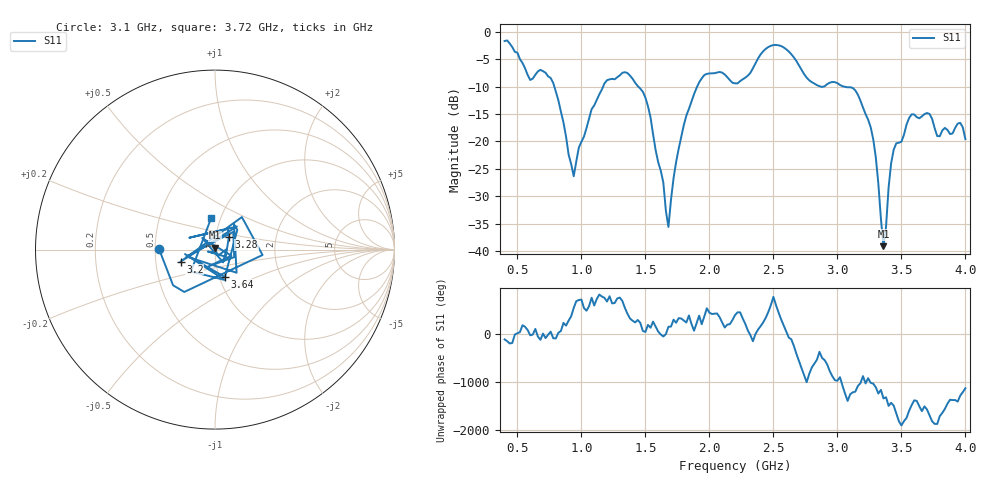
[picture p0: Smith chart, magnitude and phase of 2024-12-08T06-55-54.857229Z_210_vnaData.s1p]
!Created with skrf (http://scikit-rf.org).
# Hz S RI R 50.0
!freq ReS11 ImS11
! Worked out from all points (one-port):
!   181 points, 400 MHz to 4 GHz, reference 50 ohm
!   lowest |S11| = -39.1 dB at 3.36 GHz (marker M1), VSWR 1.02, Z = 49.9 + j1.11 ohm
!   |S11| at or under -10 dB: 788.2 MHz to 1.17 GHz (381.6 MHz wide, 39 % of centre); 1.443 GHz to 1.905 GHz (461.2 MHz wide, 27.5 % of centre); 3.05 GHz to end of sweep (the widest 3 of 4)
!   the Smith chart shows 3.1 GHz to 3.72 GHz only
!   S11 on the Smith chart (normalised r, x): 3.1 GHz: 0.52, +0.00; 3.2 GHz: 0.67, -0.09; 3.28 GHz: 1.15, +0.17; 3.64 GHz: 1.06, -0.33; 3.72 GHz: 0.90, +0.33
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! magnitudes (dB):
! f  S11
! 400 MHz  -1.7
! 600 MHz  -8.8
! 760 MHz  -8.5
! 860 MHz  -16.6
! 940 MHz  -26.3
! 1.08 GHz  -14.1
! 1.3 GHz  -8.0
! 1.5 GHz  -12.0
! 1.64 GHz  -27.5
! 1.68 GHz  -35.6
! 1.76 GHz  -21.3
! 1.82 GHz  -15.3
! 1.96 GHz  -7.9
! 2.2 GHz  -9.4
! 2.48 GHz  -2.6
! 2.66 GHz  -4.7
! 2.84 GHz  -9.7
! 3.1 GHz  -10.1
! 3.2 GHz  -13.8
! 3.28 GHz  -19.6
! 3.36 GHz  -39.1
! 3.44 GHz  -21.5
! 3.56 GHz  -15.7
! 3.64 GHz  -15.8
! 3.72 GHz  -15.0
! 3.78 GHz  -19.0
! 3.96 GHz  -16.6
! 4 GHz  -19.6
